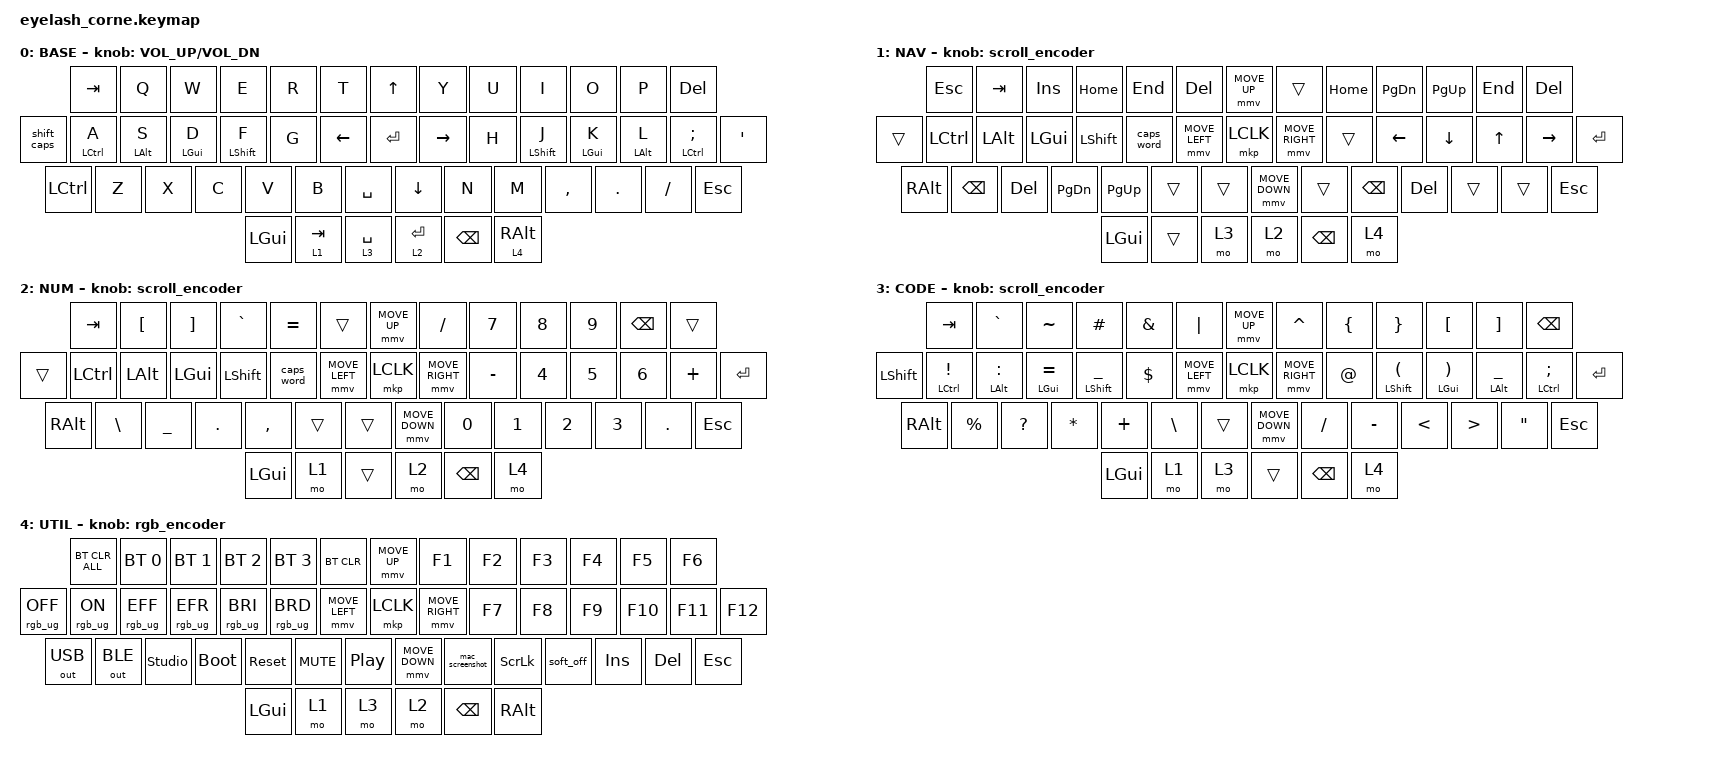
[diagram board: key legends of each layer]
#define ZMK_POINTING_DEFAULT_MOVE_VAL 1200  // 600
#define ZMK_POINTING_DEFAULT_SCRL_VAL 25   // 10

#include <input/processors.dtsi>
#include <zephyr/dt-bindings/input/input-event-codes.h>
#include <behaviors.dtsi>
#include <dt-bindings/zmk/bt.h>
#include <dt-bindings/zmk/keys.h>
#include <dt-bindings/zmk/outputs.h>
#include <dt-bindings/zmk/pointing.h>
#include <dt-bindings/zmk/rgb.h>

&mmv_input_listener { input-processors = <&zip_xy_scaler 2 1>; };

&msc_input_listener { input-processors = <&zip_scroll_scaler 2 1>; };

&msc {
    acceleration-exponent = <1>;      // 0
    time-to-max-speed-ms = <100>;       // 300
    delay-ms = <0>;                   // 0
};

&mmv {
    time-to-max-speed-ms = <500>;
    acceleration-exponent = <1>;
    trigger-period-ms = <16>;
};

/ {
    behaviors {
        shift_caps: shift_caps {
            compatible = "zmk,behavior-tap-dance";
            display-name = "Shift / Caps Lock";
            #binding-cells = <0>;
            bindings = <&kp LEFT_SHIFT>, <&kp CAPS>;
        };

        hrm_left: hrm_left {
            compatible = "zmk,behavior-hold-tap";
            display-name = "Home Row Mod Left";
            #binding-cells = <2>;
            flavor = "balanced";
            tapping-term-ms = <240>;
            quick-tap-ms = <175>;
            require-prior-idle-ms = <150>;
            bindings = <&kp>, <&kp>;
            hold-trigger-key-positions = <7 8 9 10 11 12 22 23 24 25 26 27 36 37 38 39 40 41 45 46 47>;
            hold-trigger-on-release;
        };

        hrm_right: hrm_right {
            compatible = "zmk,behavior-hold-tap";
            display-name = "Home Row Mod Right";
            #binding-cells = <2>;
            flavor = "balanced";
            tapping-term-ms = <240>;
            quick-tap-ms = <175>;
            require-prior-idle-ms = <150>;
            bindings = <&kp>, <&kp>;
            hold-trigger-key-positions = <0 1 2 3 4 5 13 14 15 16 17 18 28 29 30 31 32 33 34 42 43 44>;
            hold-trigger-on-release;
        };

        th_lt: th_lt {
            compatible = "zmk,behavior-hold-tap";
            display-name = "Thumb Layer Tap";
            #binding-cells = <2>;
            flavor = "tap-preferred";
            tapping-term-ms = <200>;
            quick-tap-ms = <150>;
            require-prior-idle-ms = <120>;
            bindings = <&mo>, <&kp>;
        };
    };

    macros {
        mac_screenshot: mac_screenshot {
            compatible = "zmk,behavior-macro";
            #binding-cells = <0>;
            wait-ms = <30>;
            tap-ms = <30>;
            bindings
                = <&macro_press &kp LGUI>
                , <&macro_press &kp LEFT_SHIFT>
                , <&macro_tap &kp N5>
                , <&macro_release &kp LEFT_SHIFT>
                , <&macro_release &kp LGUI>
                ;
        };
    };

    rgb_encoder: rgb_encoder {
        compatible = "zmk,behavior-sensor-rotate";
        #sensor-binding-cells = <0>;
        bindings = <&rgb_ug RGB_BRI>, <&rgb_ug RGB_BRD>;
    };

    scroll_encoder: scroll_encoder {
        compatible = "zmk,behavior-sensor-rotate";
        #sensor-binding-cells = <0>;
        bindings = <&msc SCRL_DOWN>, <&msc SCRL_UP>;

        tap-ms = <100>;
    };

    keymap {
        compatible = "zmk,keymap";

        base_layer {
            display-name = "BASE";
            bindings = <
&kp TAB    &kp Q                 &kp W                &kp E                 &kp R                  &kp T                           &kp UP                &kp Y                    &kp U                       &kp I                     &kp O                    &kp P                    &kp DEL
&shift_caps  &hrm_left LCTRL A   &hrm_left LALT S     &hrm_left LGUI D      &hrm_left LEFT_SHIFT F &kp G                &kp LEFT  &kp ENTER  &kp RIGHT  &kp H                    &hrm_right LEFT_SHIFT J    &hrm_right LGUI K       &hrm_right LALT L      &hrm_right LCTRL SEMI   &kp SQT
&kp LCTRL  &kp Z                 &kp X                &kp C                 &kp V                  &kp B      &kp SPACE              &kp DOWN              &kp N                    &kp M                       &kp COMMA                 &kp DOT                  &kp FSLH                &kp ESC
&kp LGUI  &th_lt 1 TAB  &th_lt 3 SPACE                                                     &th_lt 2 ENTER  &kp BSPC  &th_lt 4 RALT
            >;

            sensor-bindings = <&inc_dec_kp C_VOLUME_UP C_VOL_DN>;
        };

        nav_layer {
            display-name = "NAV";
            bindings = <
&kp ESC    &kp TAB    &kp INS           &kp HOME           &kp END             &kp DEL                          &mmv MOVE_UP                     &trans                  &kp HOME                  &kp PG_DN               &kp PG_UP               &kp END                 &kp DEL
&trans     &kp LCTRL  &kp LALT          &kp LGUI           &kp LEFT_SHIFT      &caps_word            &mmv MOVE_LEFT  &mkp LCLK       &mmv MOVE_RIGHT  &trans                  &kp LEFT                  &kp DOWN                &kp UP                  &kp RIGHT               &kp RET
&kp RALT   &kp BSPC   &kp DEL           &kp PG_DN          &kp PG_UP           &trans     &trans                       &mmv MOVE_DOWN                   &trans                  &kp BSPC                  &kp DEL                 &trans                  &trans                  &kp ESC
                                     &kp LGUI  &trans    &mo 3                                                               &mo 2         &kp BSPC  &mo 4
            >;

            sensor-bindings = <&scroll_encoder>;
        };

        num_layer {
            display-name = "NUM";
            bindings = <
&kp TAB    &kp LBKT   &kp RBKT          &kp GRAVE          &kp EQUAL           &trans                         &mmv MOVE_UP                     &kp FSLH                &kp N7                    &kp N8                  &kp N9                  &kp BSPC                &trans
&trans     &kp LCTRL  &kp LALT          &kp LGUI           &kp LEFT_SHIFT      &caps_word            &mmv MOVE_LEFT  &mkp LCLK       &mmv MOVE_RIGHT  &kp MINUS               &kp N4                    &kp N5                  &kp N6                  &kp PLUS                &kp RET
&kp RALT   &kp BSLH   &kp UNDER         &kp DOT            &kp COMMA           &trans     &trans                       &mmv MOVE_DOWN                   &kp N0                  &kp N1                    &kp N2                  &kp N3                  &kp DOT                 &kp ESC
                                     &kp LGUI  &mo 1     &trans                                                              &mo 2         &kp BSPC  &mo 4
            >;

            sensor-bindings = <&scroll_encoder>;
        };

        code_layer {
            display-name = "CODE";
            bindings = <
&kp TAB    &kp GRAVE  &kp TILDE         &kp HASH           &kp AMPS            &kp PIPE                         &mmv MOVE_UP                     &kp CARET               &kp LBRC                  &kp RBRC                &kp LBKT                &kp RBKT                &kp BSPC
&kp LEFT_SHIFT &hrm_left LCTRL EXCL  &hrm_left LALT COLON  &hrm_left LGUI EQUAL  &hrm_left LEFT_SHIFT UNDER  &kp DLLR  &mmv MOVE_LEFT  &mkp LCLK       &mmv MOVE_RIGHT  &kp AT  &hrm_right LEFT_SHIFT LPAR  &hrm_right LGUI RPAR  &hrm_right LALT UNDER  &hrm_right LCTRL SEMI  &kp RET
&kp RALT   &kp PRCNT  &kp QMARK         &kp ASTRK          &kp PLUS            &kp BSLH   &trans                       &mmv MOVE_DOWN                   &kp FSLH                &kp MINUS                 &kp LT                  &kp GT                  &kp DQT                 &kp ESC
                                     &kp LGUI  &mo 1     &mo 3                                                                &trans         &kp BSPC  &mo 4
            >;

            sensor-bindings = <&scroll_encoder>;
        };

        util_layer {
            display-name = "UTIL";
            bindings = <
&bt BT_CLR_ALL   &bt BT_SEL 0       &bt BT_SEL 1      &bt BT_SEL 2       &bt BT_SEL 3     &bt BT_CLR                         &mmv MOVE_UP                     &kp F1                  &kp F2                    &kp F3                  &kp F4                  &kp F5                  &kp F6
&rgb_ug RGB_OFF  &rgb_ug RGB_ON     &rgb_ug RGB_EFF   &rgb_ug RGB_EFR    &rgb_ug RGB_BRI  &rgb_ug RGB_BRD        &mmv MOVE_LEFT  &mkp LCLK       &mmv MOVE_RIGHT  &kp F7                  &kp F8                    &kp F9                  &kp F10                 &kp F11                 &kp F12
&out OUT_USB     &out OUT_BLE       &studio_unlock    &bootloader        &sys_reset       &kp C_MUTE   &kp C_PP                    &mmv MOVE_DOWN                   &mac_screenshot         &kp SCROLLLOCK            &soft_off               &kp INS                 &kp DEL                 &kp ESC
                                           &kp LGUI  &mo 1           &mo 3                                                             &mo 2          &kp BSPC  &kp RALT
            >;

            sensor-bindings = <&rgb_encoder>;
        };
    };
};
